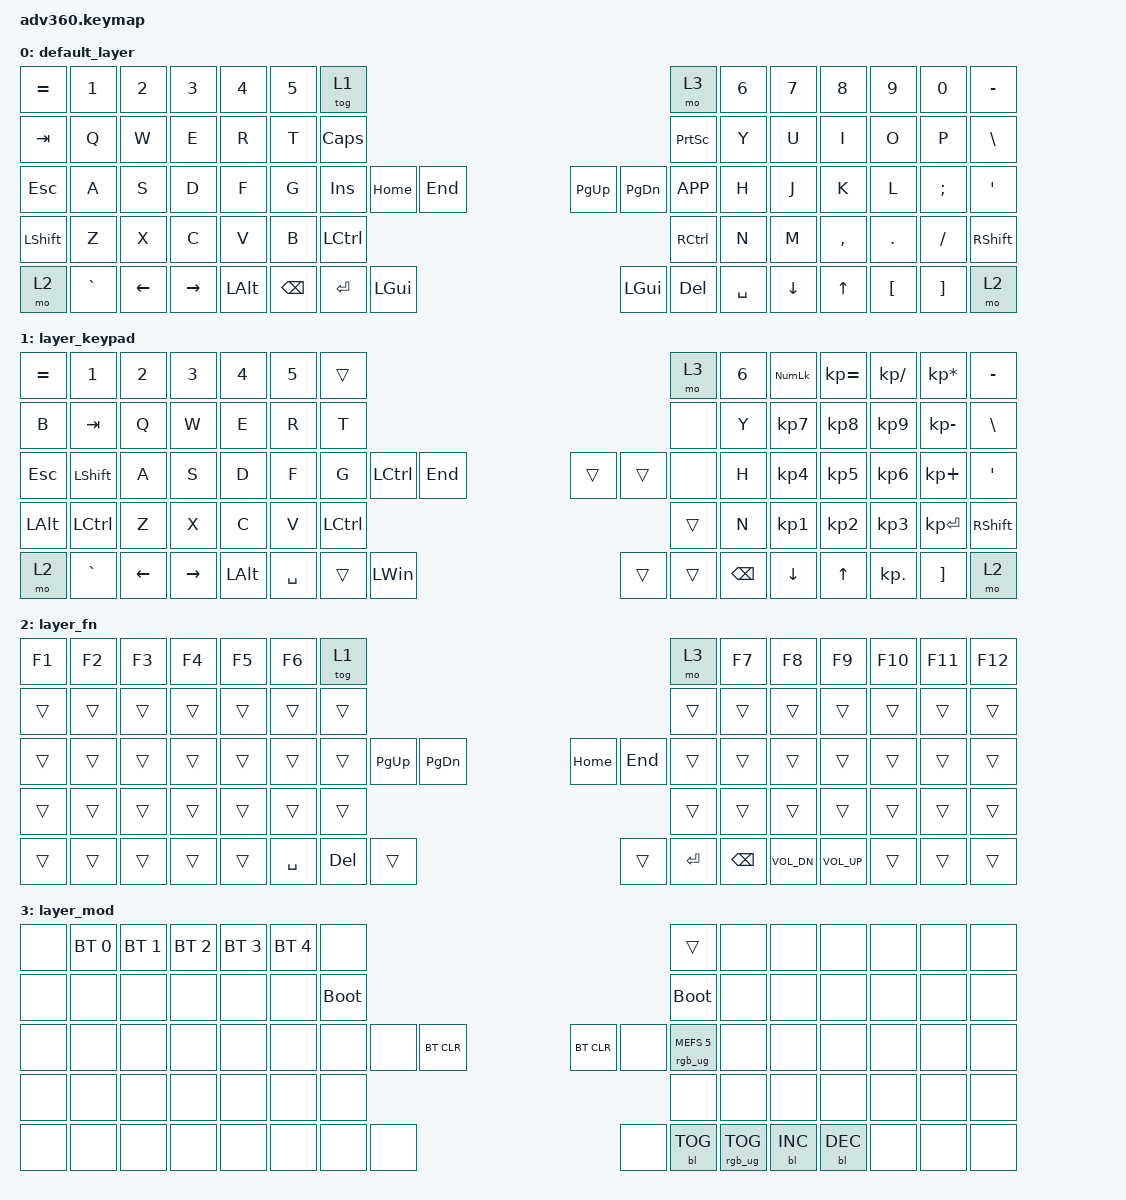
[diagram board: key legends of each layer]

/*
 * Copyright (c) 2020 The ZMK Contributors
 *
 * SPDX-License-Identifier: MIT
 */


/* THIS FILE WAS GENERATED!
 *
 * This file was generated automatically. You may or may not want to
 * edit it directly.
 */

#include <behaviors.dtsi>
#include <dt-bindings/zmk/keys.h>
#include <dt-bindings/zmk/bt.h>
#include <dt-bindings/zmk/rgb.h>
#include <dt-bindings/zmk/backlight.h>

/ {
  behaviors {
    #include "macros.dtsi"
    #include "version.dtsi"

    hm: homerow_mods {
        compatible = "zmk,behavior-hold-tap";
        label = "HOMEROW_MODS";
        #binding-cells = <2>;
        tapping-term-ms = <200>;
        quick_tap_ms = <175>;
        flavor = "tap-preferred";
        bindings = <&kp>, <&kp>;
    };
  };

    keymap {
        compatible = "zmk,keymap";


        default_layer {
            bindings = <
 &kp EQUAL     &kp N1    &kp N2     &kp N3        &kp N4  &kp N5                   &tog 1                                                                        &mo 3  &kp N6    &kp N7     &kp N8    &kp N9    &kp N0  &kp MINUS
   &kp TAB      &kp Q     &kp W      &kp E         &kp R   &kp T                 &kp CAPS                                                                    &kp PSCRN   &kp Y     &kp U      &kp I     &kp O     &kp P   &kp BSLH
   &kp ESC      &kp A     &kp S      &kp D         &kp F   &kp G                  &kp INS   &kp HOME       &kp END                     &kp PG_UP  &kp PG_DN  &kp K_APP   &kp H     &kp J      &kp K     &kp L  &kp SEMI    &kp SQT
 &kp LSHFT      &kp Z     &kp X      &kp C         &kp V   &kp B                                         &kp LCTRL                     &kp RCTRL                         &kp N     &kp M  &kp COMMA   &kp DOT  &kp FSLH  &kp RSHFT
     &mo 2  &kp GRAVE  &kp LEFT  &kp RIGHT  &kp LEFT_ALT                    &kp BACKSPACE  &kp ENTER  &kp LEFT_GUI                  &kp LEFT_GUI    &kp DEL  &kp SPACE          &kp DOWN     &kp UP  &kp LBKT  &kp RBKT      &mo 2
            >;
        };

        layer_keypad {
            bindings = <
    &kp EQUAL            &kp N1    &kp N2     &kp N3        &kp N4  &kp N5               &trans                                                                       &mo 3  &kp N6  &kp KP_NUM  &kp KP_EQUAL  &kp KP_DIVIDE  &kp KP_MULTIPLY  &kp MINUS
        &kp B           &kp TAB     &kp Q      &kp W         &kp E   &kp R                &kp T                                                                       &none   &kp Y   &kp KP_N7     &kp KP_N8      &kp KP_N9     &kp KP_MINUS   &kp BSLH
      &kp ESC        &kp LSHIFT     &kp A      &kp S         &kp D   &kp F                &kp G  &kp LCTRL           &kp END                  &trans  &trans          &none   &kp H   &kp KP_N4     &kp KP_N5      &kp KP_N6      &kp KP_PLUS    &kp SQT
 &kp LEFT_ALT  &kp LEFT_CONTROL     &kp Z      &kp X         &kp C   &kp V                                  &kp LEFT_CONTROL                  &trans                          &kp N   &kp KP_N1     &kp KP_N2      &kp KP_N3     &kp KP_ENTER  &kp RSHFT
        &mo 2         &kp GRAVE  &kp LEFT  &kp RIGHT  &kp LEFT_ALT                    &kp SPACE     &trans      &kp LEFT_WIN                  &trans  &trans  &kp BACKSPACE            &kp DOWN        &kp UP     &kp KP_DOT         &kp RBKT      &mo 2
            >;
        };

        layer_fn {
            bindings = <
 &kp F1  &kp F2  &kp F3  &kp F4  &kp F5  &kp F6               &tog 1                                                                     &mo 3  &kp F7        &kp F8        &kp F9  &kp F10  &kp F11  &kp F12
 &trans  &trans  &trans  &trans  &trans  &trans               &trans                                                                    &trans  &trans        &trans        &trans   &trans   &trans   &trans
 &trans  &trans  &trans  &trans  &trans  &trans               &trans  &kp PG_UP  &kp PG_DN                  &kp HOME    &kp END         &trans  &trans        &trans        &trans   &trans   &trans   &trans
 &trans  &trans  &trans  &trans  &trans  &trans                                     &trans                    &trans                            &trans        &trans        &trans   &trans   &trans   &trans
 &trans  &trans  &trans  &trans  &trans                    &kp SPACE    &kp DEL     &trans                    &trans  &kp ENTER  &kp BACKSPACE          &kp C_VOL_DN  &kp C_VOL_UP   &trans   &trans   &trans
            >;
        };

        layer_mod {
            bindings = <
  &none  &bt BT_SEL 0  &bt BT_SEL 1  &bt BT_SEL 2  &bt BT_SEL 3  &bt BT_SEL 4                  &none                                                                              &trans   &none       &none       &none   &none   &none   &none
  &none         &none         &none         &none         &none         &none            &bootloader                                                                         &bootloader   &none       &none       &none   &none   &none   &none
  &none         &none         &none         &none         &none         &none                  &none   &none  &bt BT_CLR                  &bt BT_CLR       &none  &rgb_ug RGB_MEFS_CMD 5   &none       &none       &none   &none   &none   &none
  &none         &none         &none         &none         &none         &none                                      &none                       &none                                       &none       &none       &none   &none   &none   &none
  &none         &none         &none         &none         &none                                &none   &none       &none                       &none  &bl BL_TOG         &rgb_ug RGB_TOG          &bl BL_INC  &bl BL_DEC   &none   &none   &none
            >;
        };

    };
};
